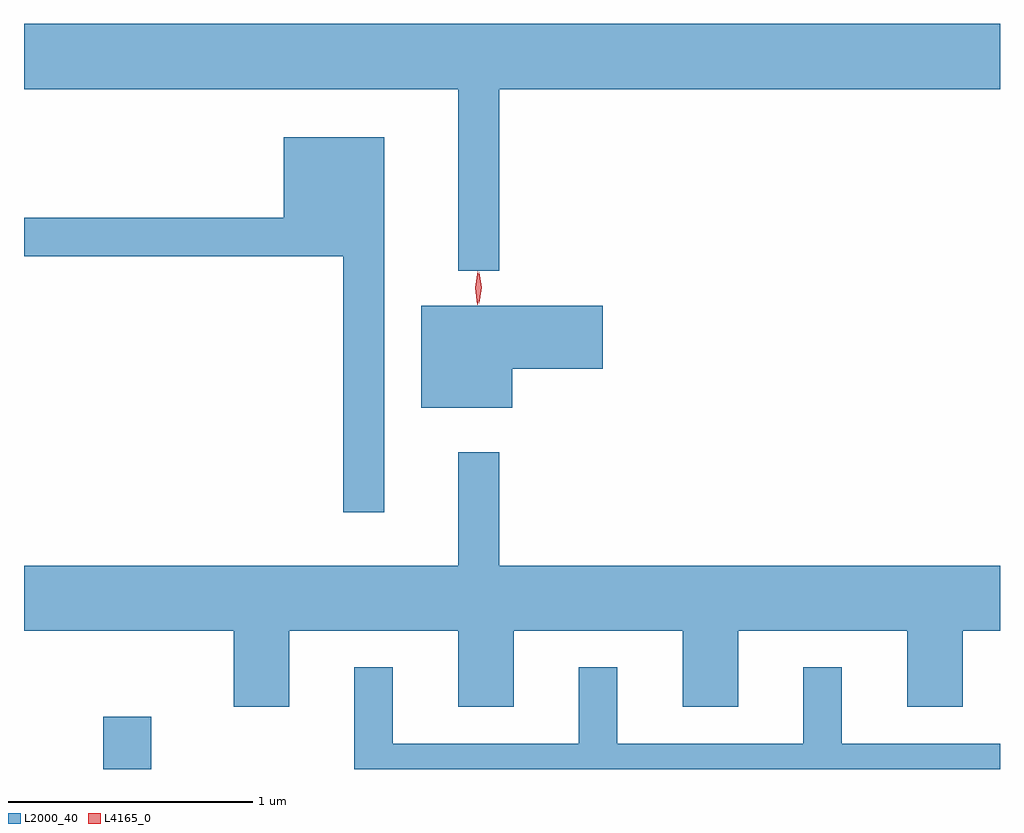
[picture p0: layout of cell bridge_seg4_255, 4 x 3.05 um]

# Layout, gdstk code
import gdstk
lib = gdstk.Library(unit=1e-6, precision=1e-09)
def R(c, l, rs):  # rectangles x0, y0, x1, y1
    for r in rs: c.add(gdstk.rectangle(r[:2], r[2:], *l))
def P(c, l, *ps):  # polygons
    for p in ps: c.add(gdstk.Polygon(p, *l))
L2000_40 = (2000, 40)
L4165_0 = (4165, 0)

bridge_seg4_255 = lib.new_cell('bridge_seg4_255')
R(bridge_seg4_255, L2000_40, [(664.476,1343.01,664.674,1343.224)])
P(bridge_seg4_255, L2000_40, [(666.099,1345.796),(668.152,1345.796),(668.152,1346.064),(664.152,1346.064),(664.152,1345.796),(665.931,1345.796),(665.931,1345.053),(666.099,1345.053)],
  [(665.629,1345.599),(665.216,1345.599),(665.216,1345.269),(664.152,1345.269),(664.152,1345.111),(665.461,1345.111),(665.461,1344.063),(665.629,1344.063)],
  [(666.154,1344.651),(666.524,1344.651),(666.524,1344.909),(665.781,1344.909),(665.781,1344.491),(666.154,1344.491)],
  [(665.239,1343.576),(665.931,1343.576),(665.931,1343.266),(666.159,1343.266),(666.159,1343.576),(666.851,1343.576),(666.851,1343.266),(667.079,1343.266),(667.079,1343.576),(667.771,1343.576),(667.771,1343.266),(667.999,1343.266),(667.999,1343.576),(668.152,1343.576),(668.152,1343.844),(666.099,1343.844),(666.099,1344.308),(665.931,1344.308),(665.931,1343.844),(664.152,1343.844),(664.152,1343.576),(665.011,1343.576),(665.011,1343.266),(665.239,1343.266)],
  [(668.152,1343.114),(667.504,1343.114),(667.504,1343.428),(667.346,1343.428),(667.346,1343.114),(666.584,1343.114),(666.584,1343.428),(666.426,1343.428),(666.426,1343.114),(665.664,1343.114),(665.664,1343.428),(665.506,1343.428),(665.506,1343.01),(668.152,1343.01)])
P(bridge_seg4_255, L4165_0, [(666.01,1344.914),(666.01,1344.914),(666.001,1344.982),(666.011,1345.05),(666.012,1345.05),(666.012,1345.05),(666.021,1344.982),(666.011,1344.914)],
  [(666.017,1344.92),(666.017,1344.92),(666.007,1344.984),(666.017,1345.046),(666.017,1345.047),(666.018,1345.046),(666.027,1344.984),(666.018,1344.92)])

lib.write_gds('bridge_seg4_255.gds')
